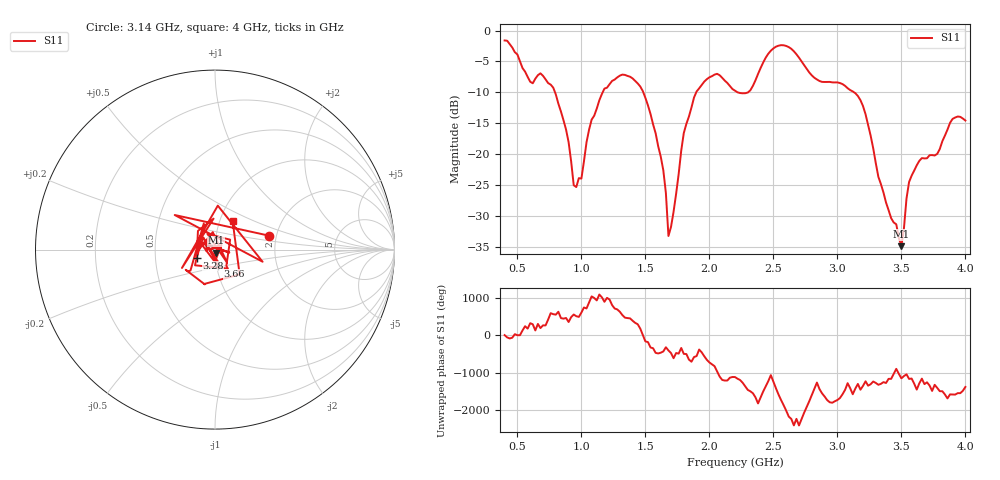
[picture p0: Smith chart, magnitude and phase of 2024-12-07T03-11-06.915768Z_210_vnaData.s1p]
!Created with skrf (http://scikit-rf.org).
# Hz S RI R 50.0
!freq ReS11 ImS11
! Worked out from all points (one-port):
!   181 points, 400 MHz to 4 GHz, reference 50 ohm
!   lowest |S11| = -34.8 dB at 3.5 GHz (marker M1), VSWR 1.04, Z = 50.5 - j1.74 ohm
!   |S11| at or under -10 dB: 794.1 MHz to 1.166 GHz (371.7 MHz wide, 37.9 % of centre); 1.484 GHz to 1.897 GHz (413 MHz wide, 24.4 % of centre); 3.131 GHz to end of sweep (the widest 3 of 4)
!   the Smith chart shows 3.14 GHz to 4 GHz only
!   S11 on the Smith chart (normalised r, x): 3.14 GHz: 1.83, +0.31; 3.28 GHz: 0.81, -0.07; 3.66 GHz: 1.02, -0.19; 4 GHz: 1.15, +0.38
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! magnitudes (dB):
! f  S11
! 400 MHz  -1.6
! 600 MHz  -8.3
! 780 MHz  -9.2
! 860 MHz  -14.5
! 960 MHz  -25.3
! 1 GHz  -23.9
! 1.08 GHz  -14.4
! 1.3 GHz  -7.3
! 1.52 GHz  -12.1
! 1.64 GHz  -22.6
! 1.68 GHz  -33.2
! 1.76 GHz  -23.2
! 1.8 GHz  -16.6
! 1.9 GHz  -9.8
! 2.06 GHz  -7.0
! 2.2 GHz  -9.7
! 2.32 GHz  -9.7
! 2.5 GHz  -2.9
! 2.66 GHz  -3.3
! 3.1 GHz  -9.6
! 3.14 GHz  -10.1
! 3.28 GHz  -19.0
! 3.5 GHz  -34.8
! 3.56 GHz  -24.5
! 3.66 GHz  -20.6
! 3.78 GHz  -19.9
! 3.9 GHz  -14.3
! 4 GHz  -14.5
